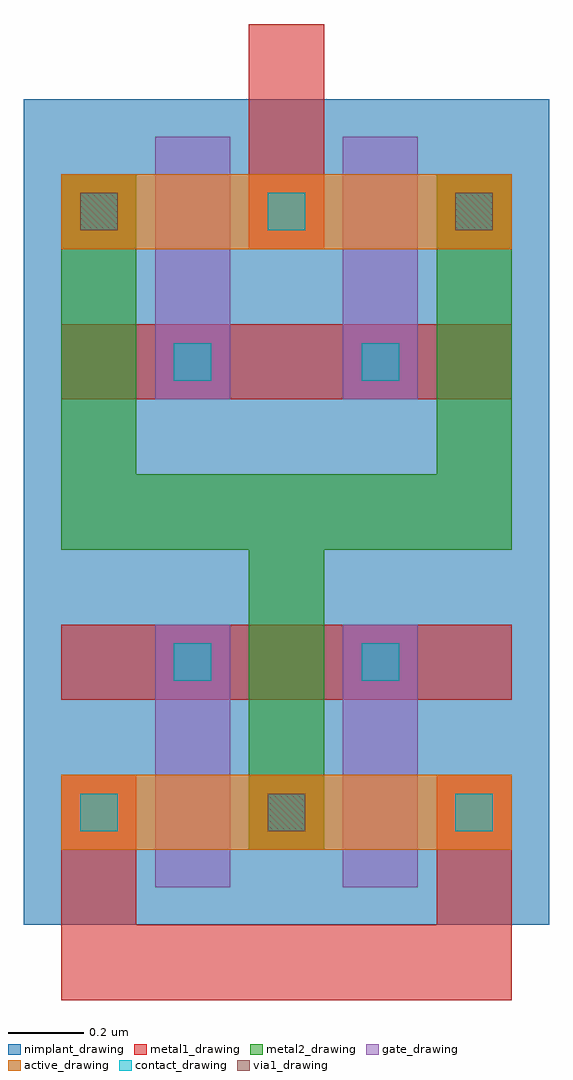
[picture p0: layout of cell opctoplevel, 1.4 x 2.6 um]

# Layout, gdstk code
import gdstk
lib = gdstk.Library(unit=1e-6, precision=1e-09)
def R(c, l, rs):  # rectangles x0, y0, x1, y1
    for r in rs: c.add(gdstk.rectangle(r[:2], r[2:], *l))
def A(c, l, x, y, w, h, nx, ny, dx, dy):  # array of equal rectangles
    R(c, l, [(x+i*dx, y+j*dy, x+i*dx+w, y+j*dy+h) for i in range(nx) for j in range(ny)])
active_drawing = (1, 0)
nimplant_drawing = (5, 0)
gate_drawing = (6, 0)
contact_drawing = (7, 0)
metal1_drawing = (8, 0)
via1_drawing = (9, 0)
metal2_drawing = (10, 0)

opctoplevel = lib.new_cell('opctoplevel')
R(opctoplevel, active_drawing, [(-0.25,0,0.95,0.2), (-0.25,1.6,0.95,1.8)])
R(opctoplevel, nimplant_drawing, [(-0.35,-0.2,1.05,2)])
R(opctoplevel, gate_drawing, [(0,-0.1,0.2,0.6), (0.5,-0.1,0.7,0.6), (0,1.2,0.2,1.9), (0.5,1.2,0.7,1.9)])
A(opctoplevel, contact_drawing, -0.2, 0.05, 0.1, 0.1, 3, 2, 0.5, 1.6)
R(opctoplevel, contact_drawing, [(0.05,0.45,0.15,0.55), (0.55,0.45,0.65,0.55), (0.05,1.25,0.15,1.35), (0.55,1.25,0.65,1.35)])
A(opctoplevel, metal1_drawing, -0.25, -0.4, 1.2, 0.2, 1, 3, 0, 0.8)
A(opctoplevel, metal1_drawing, -0.25, 0, 0.2, 0.2, 3, 2, 0.5, 1.6)
R(opctoplevel, metal1_drawing, [(-0.25,-0.2,-0.05,0), (0.75,-0.2,0.95,0), (0,0.4,0.7,0.6), (0,1.2,0.7,1.4), (0.25,1.8,0.45,2), (0.25,2,0.45,2.2)])
R(opctoplevel, via1_drawing, [(0.3,0.05,0.4,0.15), (-0.2,1.65,-0.1,1.75), (0.8,1.65,0.9,1.75)])
R(opctoplevel, metal2_drawing, [(0.25,0,0.45,0.2), (0.25,0.2,0.45,0.8), (-0.25,0.8,0.95,1), (0.25,0.8,0.45,1), (-0.25,1,-0.05,1.6), (0.75,1,0.95,1.6), (-0.25,1.6,-0.05,1.8), (0.75,1.6,0.95,1.8)])

lib.write_gds('opctoplevel.gds')
